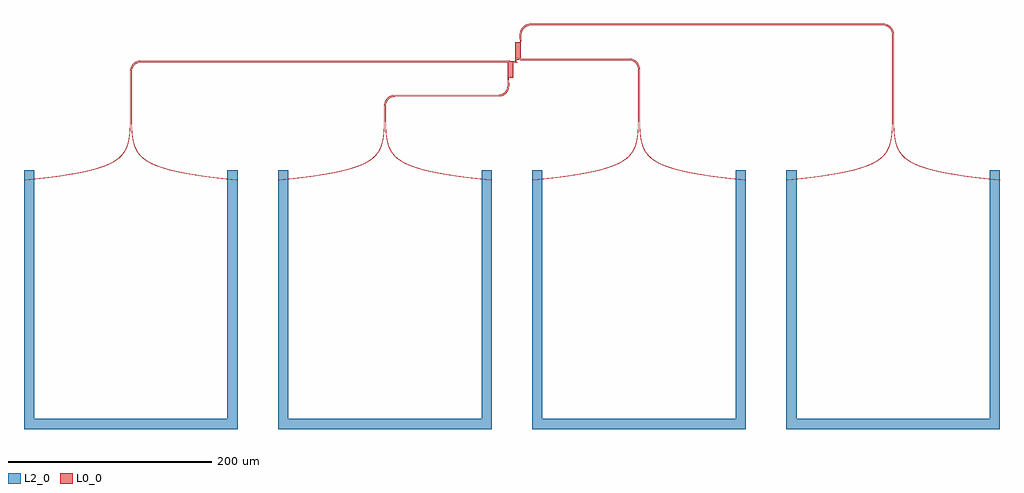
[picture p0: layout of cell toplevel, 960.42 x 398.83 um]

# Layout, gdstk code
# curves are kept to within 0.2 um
import gdstk
lib = gdstk.Library(unit=1e-6, precision=1e-09)
def P(c, l, *ps):  # polygons
    for p in ps: c.add(gdstk.Polygon(p, *l))
L0_0 = (0, 0)
L2_0 = (2, 0)

toplevel = lib.new_cell('toplevel')
P(toplevel, L0_0, [(-850.7,299.7),(-850.759,295.205),(-850.935,290.711),(-851.192,287.017),(-851.549,283.625),(-852.012,280.534),(-852.317,278.94),(-852.628,277.546),(-852.96,276.253),(-853.308,275.059),(-853.701,273.866),(-854.145,272.673),(-854.691,271.382),(-855.212,270.29),(-855.739,269.297),(-856.321,268.305),(-856.966,267.312),(-857.679,266.32),(-858.385,265.427),(-859.249,264.435),(-860.105,263.541),(-861.041,262.648),(-862.068,261.753),(-862.934,261.058),(-864.002,260.262),(-865.009,259.566),(-866.252,258.77),(-867.425,258.073),(-868.684,257.376),(-870.237,256.579),(-871.92,255.782),(-873.51,255.084),(-876.777,253.787),(-880.503,252.49),(-882.721,251.791),(-884.751,251.192),(-889.2,249.994),(-893.78,248.895),(-898.896,247.796),(-904.613,246.697),(-910.39,245.697),(-916.779,244.698),(-923.846,243.698),(-930.844,242.799),(-938.506,241.899),(-946.896,240.999),(-955.209,240.181),(-955.2,239.996),(-955,240),(-947.855,240.7),(-940.284,241.5),(-934.14,242.2),(-929.209,242.8),(-923.819,243.5),(-918.796,244.2),(-910.968,245.4),(-907.394,246),(-903.489,246.7),(-899.85,247.4),(-896.458,248.1),(-893.297,248.8),(-890.351,249.5),(-887.606,250.2),(-884.696,251),(-882.335,251.7),(-879.834,252.5),(-877.526,253.3),(-875.396,254.1),(-873.431,254.9),(-871.402,255.8),(-869.549,256.7),(-867.856,257.6),(-866.31,258.5),(-864.749,259.5),(-863.337,260.5),(-862.061,261.5),(-860.798,262.6),(-859.667,263.7),(-858.831,264.6),(-857.907,265.7),(-857.151,266.7),(-856.403,267.8),(-855.734,268.9),(-855.084,270.1),(-854.554,271.2),(-853.959,272.6),(-853.443,274),(-853.086,275.1),(-852.686,276.5),(-852.294,278.1),(-851.981,279.6),(-851.664,281.4),(-851.389,283.3),(-851.165,285.2),(-850.911,288),(-850.714,291.1),(-850.594,294),(-850.517,297.4),(-850.5,346.872),(-850.459,347.798),(-850.303,348.898),(-850.134,349.62),(-849.853,350.502),(-849.572,351.188),(-849.154,352.015),(-848.666,352.802),(-848.226,353.398),(-847.619,354.098),(-847.09,354.617),(-846.38,355.212),(-845.776,355.641),(-845.143,356.027),(-844.484,356.367),(-843.803,356.66),(-842.926,356.957),(-842.207,357.138),(-841.294,357.292),(-840.556,357.358),(-840,357.372),(-482.938,357.372),(-480.414,357.359),(-478.995,357.313),(-478.048,357.216),(-477.101,357.027),(-476.628,356.979),(-471.639,356.973),(-471.339,356.897),(-471.389,357.397),(-471.389,375.397),(-470.789,375.397),(-470.789,361.571),(-470.762,361.273),(-470.689,361.197),(-470.642,361.222),(-470.607,361.312),(-470.589,361.631),(-470.589,375.397),(-469.989,375.397),(-469.989,361.571),(-469.962,361.273),(-469.889,361.197),(-469.842,361.222),(-469.807,361.312),(-469.789,361.631),(-469.789,375.397),(-469.189,375.397),(-469.189,361.571),(-469.162,361.273),(-469.089,361.197),(-469.042,361.222),(-469.007,361.312),(-468.989,361.631),(-468.989,375.397),(-468.389,375.397),(-468.389,361.571),(-468.362,361.273),(-468.289,361.197),(-468.242,361.222),(-468.207,361.312),(-468.189,361.631),(-468.189,375.397),(-467.589,375.397),(-467.589,361.571),(-467.562,361.273),(-467.489,361.197),(-467.442,361.222),(-467.407,361.312),(-467.389,361.631),(-467.389,375.397),(-466.789,375.397),(-466.789,361.571),(-466.755,361.255),(-466.707,361.201),(-466.642,361.222),(-466.601,361.351),(-466.589,361.631),(-466.592,376.028),(-466.619,376.502),(-466.855,377.764),(-466.939,378.71),(-466.98,380.288),(-466.989,383.128),(-466.963,383.868),(-466.885,384.605),(-466.755,385.335),(-466.574,386.053),(-466.342,386.758),(-465.984,387.612),(-465.644,388.27),(-465.258,388.903),(-464.715,389.654),(-464.234,390.218),(-463.715,390.746),(-463.159,391.237),(-462.571,391.687),(-461.793,392.19),(-461.14,392.541),(-460.465,392.846),(-459.769,393.102),(-459.057,393.309),(-458.333,393.464),(-457.599,393.569),(-456.489,393.628),(-110,393.628),(-109.259,393.601),(-108.339,393.495),(-107.432,393.309),(-106.545,393.043),(-105.684,392.7),(-104.857,392.282),(-104.224,391.896),(-103.474,391.353),(-102.774,390.746),(-102.131,390.08),(-101.66,389.507),(-101.131,388.747),(-100.67,387.944),(-100.353,387.274),(-100.025,386.408),(-99.775,385.516),(-99.604,384.605),(-99.526,383.868),(-99.5,383.128),(-99.499,299.3),(-99.43,294.8),(-99.248,290.4),(-98.935,286.2),(-98.746,284.4),(-98.516,282.6),(-98.185,280.5),(-97.92,279.1),(-97.59,277.6),(-97.205,276.1),(-96.724,274.5),(-96.308,273.3),(-95.838,272.1),(-95.26,270.8),(-94.708,269.7),(-93.971,268.4),(-93.267,267.3),(-92.556,266.3),(-91.517,265),(-90.43,263.8),(-89.202,262.6),(-87.939,261.5),(-86.528,260.4),(-85.102,259.4),(-83.525,258.4),(-81.597,257.3),(-79.648,256.3),(-77.719,255.4),(-75.606,254.5),(-73.561,253.7),(-71.054,252.8),(-68.626,252),(-65.995,251.2),(-63.144,250.4),(-60.053,249.6),(-57.137,248.9),(-53.542,248.1),(-50.15,247.4),(-46.511,246.7),(-42.605,246),(-38.415,245.3),(-34.581,244.7),(-30.508,244.1),(-25.434,243.4),(-15.859,242.2),(-5.056,241),(1.876,240.3),(5.2,239.996),(5.209,240.181),(-1.134,240.799),(-7.859,241.499),(-14.125,242.199),(-19.965,242.898),(-28.35,243.998),(-35.854,245.098),(-39.61,245.697),(-43.715,246.397),(-47.539,247.096),(-50.61,247.696),(-53.965,248.395),(-57.092,249.095),(-60.005,249.794),(-63.092,250.593),(-65.94,251.392),(-68.566,252.191),(-70.989,252.989),(-73.49,253.887),(-75.775,254.785),(-77.86,255.682),(-79.764,256.579),(-81.502,257.476),(-83.089,258.372),(-84.842,259.467),(-86.41,260.561),(-87.812,261.654),(-89.067,262.747),(-90.286,263.939),(-91.365,265.13),(-92.396,266.42),(-93.102,267.412),(-93.86,268.603),(-94.531,269.793),(-95.079,270.885),(-95.612,272.078),(-96.12,273.37),(-96.534,274.562),(-96.985,276.054),(-97.372,277.547),(-97.724,279.14),(-97.988,280.534),(-98.275,282.328),(-98.524,284.224),(-98.717,286.019),(-99.037,290.212),(-99.23,294.806),(-99.299,299.301),(-99.3,383.128),(-99.381,384.446),(-99.539,385.377),(-99.778,386.29),(-100.096,387.179),(-100.492,388.036),(-100.962,388.854),(-101.501,389.629),(-101.981,390.212),(-102.637,390.891),(-103.35,391.51),(-104.114,392.063),(-104.759,392.456),(-105.602,392.882),(-106.479,393.232),(-107.383,393.503),(-108.307,393.693),(-109.245,393.801),(-109.999,393.828),(-456.49,393.828),(-457.62,393.768),(-458.182,393.693),(-458.923,393.547),(-459.652,393.35),(-460.188,393.168),(-460.715,392.958),(-461.397,392.635),(-462.056,392.266),(-462.532,391.958),(-463.14,391.51),(-463.574,391.146),(-464.122,390.627),(-464.508,390.212),(-464.872,389.778),(-465.32,389.17),(-465.997,388.036),(-466.393,387.179),(-466.766,386.109),(-467.023,385.006),(-467.163,383.882),(-467.188,383.316),(-467.186,381.234),(-467.146,378.859),(-467.054,377.737),(-466.817,376.476),(-466.79,375.598),(-471.589,375.598),(-471.589,357.387),(-471.567,357.16),(-476.621,357.178),(-477.065,357.224),(-478.179,357.437),(-478.982,357.512),(-480.253,357.557),(-483.096,357.572),(-840.001,357.572),(-840.566,357.558),(-841.319,357.491),(-842.249,357.333),(-842.982,357.149),(-843.876,356.846),(-844.739,356.466),(-845.567,356.01),(-846.197,355.595),(-846.942,355.015),(-847.499,354.505),(-848.019,353.957),(-848.612,353.223),(-849.138,352.439),(-849.508,351.781),(-849.83,351.098),(-850.165,350.215),(-850.42,349.306),(-850.565,348.565),(-850.658,347.816),(-850.7,346.873)],
  [(-849.5,299.8),(-849.443,295.3),(-849.27,290.8),(-849.016,287.1),(-848.662,283.7),(-848.185,280.5),(-847.92,279.1),(-847.614,277.7),(-847.26,276.3),(-846.852,274.9),(-846.417,273.6),(-845.961,272.4),(-845.446,271.2),(-844.966,270.2),(-844.436,269.2),(-843.724,268),(-843.061,267),(-842.405,266.1),(-841.602,265.1),(-840.807,264.2),(-840.037,263.4),(-839.093,262.5),(-838.298,261.8),(-837.189,260.9),(-836.115,260.1),(-834.951,259.3),(-833.69,258.5),(-832.5,257.8),(-831.032,257),(-829.648,256.3),(-828.163,255.6),(-826.569,254.9),(-823.293,253.6),(-821.344,252.9),(-819.56,252.3),(-815.651,251.1),(-811.241,249.9),(-806.265,248.7),(-801.144,247.6),(-795.423,246.5),(-789.643,245.5),(-783.25,244.5),(-776.181,243.5),(-768.363,242.5),(-760.621,241.6),(-752.144,240.7),(-744.8,239.996),(-744.791,240.181),(-751.134,240.799),(-757.859,241.499),(-764.125,242.199),(-770.766,242.998),(-778.35,243.998),(-785.206,244.998),(-792.572,246.197),(-795.933,246.797),(-799.607,247.496),(-802.556,248.096),(-805.779,248.795),(-809.193,249.594),(-811.58,250.194),(-814.187,250.893),(-816.616,251.592),(-819.19,252.39),(-821.565,253.189),(-823.755,253.987),(-825.775,254.785),(-828.08,255.782),(-829.965,256.679),(-831.686,257.576),(-833.256,258.472),(-834.842,259.467),(-836.41,260.561),(-837.812,261.654),(-839.067,262.747),(-840.286,263.939),(-841.365,265.13),(-842.396,266.42),(-843.168,267.511),(-844.035,268.9),(-844.788,270.29),(-845.484,271.779),(-846.12,273.37),(-846.692,275.059),(-847.173,276.751),(-847.577,278.442),(-847.988,280.534),(-848.275,282.329),(-848.559,284.523),(-848.782,286.718),(-848.988,289.413),(-849.134,292.109),(-849.241,295.205),(-849.3,299.7),(-849.3,346.872),(-849.264,347.692),(-849.183,348.344),(-849.056,348.988),(-848.727,350.088),(-848.478,350.695),(-848.187,351.284),(-847.856,351.85),(-847.485,352.392),(-846.748,353.272),(-846.28,353.732),(-845.78,354.158),(-844.838,354.815),(-844.266,355.136),(-843.672,355.417),(-842.749,355.757),(-841.955,355.965),(-840.983,356.12),(-839.999,356.172),(-483.369,356.172),(-479.46,356.209),(-478.179,356.308),(-476.773,356.559),(-474.343,356.56),(-474.22,356.483),(-474.152,356.368),(-474.139,355.973),(-478.939,355.973),(-478.945,339.99),(-478.991,339.546),(-479.18,338.594),(-479.268,337.79),(-479.326,336.2),(-479.352,332.55),(-479.432,331.734),(-479.583,330.927),(-479.755,330.294),(-479.971,329.674),(-480.23,329.071),(-480.531,328.487),(-481.154,327.523),(-481.562,327.009),(-482.005,326.524),(-482.859,325.757),(-483.388,325.367),(-483.942,325.016),(-484.967,324.498),(-485.579,324.26),(-486.206,324.066),(-486.845,323.917),(-487.493,323.813),(-488.64,323.742),(-590.189,323.741),(-590.755,323.716),(-591.506,323.636),(-592.8,323.37),(-593.521,323.146),(-594.225,322.873),(-595.404,322.277),(-596.35,321.654),(-597.225,320.935),(-598.019,320.127),(-598.831,319.085),(-599.42,318.118),(-599.973,316.918),(-600.327,315.842),(-600.565,314.735),(-600.658,313.985),(-600.7,313.043),(-600.724,296.903),(-600.8,293.807),(-600.946,290.511),(-601.218,286.718),(-601.549,283.625),(-602.012,280.534),(-602.317,278.94),(-602.628,277.546),(-603.158,275.557),(-603.807,273.568),(-604.43,271.978),(-605.212,270.29),(-606.023,268.801),(-606.966,267.312),(-607.985,265.923),(-609.249,264.435),(-610.408,263.243),(-611.716,262.051),(-612.934,261.058),(-614.282,260.063),(-615.773,259.069),(-617.252,258.173),(-618.871,257.277),(-620.645,256.38),(-622.363,255.582),(-624.716,254.585),(-626.777,253.787),(-629.011,252.989),(-631.434,252.191),(-634.061,251.392),(-636.54,250.693),(-639.2,249.994),(-641.635,249.394),(-645.119,248.595),(-648.407,247.896),(-651.936,247.196),(-655.722,246.497),(-659.188,245.897),(-666.779,244.698),(-675.347,243.498),(-684.164,242.399),(-694.014,241.299),(-705.209,240.181),(-705.2,239.996),(-705,240),(-695.905,240.9),(-687.598,241.8),(-681.637,242.5),(-676.082,243.2),(-670.906,243.9),(-666.081,244.6),(-660.357,245.5),(-654.577,246.5),(-649.351,247.5),(-644.624,248.5),(-640.351,249.5),(-636.122,250.6),(-632.336,251.7),(-628.656,252.9),(-625.396,254.1),(-622.281,255.4),(-619.549,256.7),(-618.219,257.4),(-616.98,258.1),(-615.825,258.8),(-614.749,259.5),(-613.608,260.3),(-612.683,261),(-611.702,261.8),(-610.798,262.6),(-609.863,263.5),(-609.101,264.3),(-608.067,265.5),(-606.939,267),(-605.909,268.6),(-605.084,270.1),(-604.246,271.9),(-603.583,273.6),(-602.966,275.5),(-602.386,277.7),(-602.08,279.1),(-601.815,280.5),(-601.338,283.7),(-600.984,287.1),(-600.73,290.8),(-600.607,293.6),(-600.524,296.9),(-600.5,313.042),(-600.474,313.783),(-600.368,314.703),(-600.134,315.79),(-599.787,316.846),(-599.244,318.023),(-598.666,318.972),(-597.99,319.854),(-597.226,320.661),(-596.38,321.382),(-595.303,322.105),(-594.146,322.689),(-593.455,322.958),(-592.926,323.126),(-592.207,323.308),(-591.478,323.438),(-590.185,323.541),(-488.639,323.542),(-487.969,323.566),(-487.302,323.637),(-486.154,323.873),(-485.513,324.072),(-484.888,324.314),(-483.841,324.843),(-483.275,325.202),(-482.735,325.6),(-482.225,326.035),(-481.746,326.505),(-480.993,327.404),(-480.615,327.958),(-480.276,328.536),(-479.784,329.601),(-479.564,330.235),(-479.388,330.882),(-479.234,331.705),(-479.145,332.707),(-479.126,336.197),(-479.069,337.775),(-478.983,338.564),(-478.794,339.51),(-478.746,339.984),(-478.739,355.772),(-478.139,355.772),(-478.139,341.946),(-478.112,341.648),(-478.039,341.572),(-477.992,341.597),(-477.957,341.687),(-477.939,342.006),(-477.939,355.772),(-477.339,355.772),(-477.339,341.946),(-477.312,341.648),(-477.239,341.572),(-477.192,341.597),(-477.157,341.687),(-477.139,342.006),(-477.139,355.772),(-476.539,355.772),(-476.539,341.946),(-476.512,341.648),(-476.439,341.572),(-476.392,341.597),(-476.357,341.687),(-476.339,342.006),(-476.339,355.772),(-475.739,355.772),(-475.739,341.946),(-475.712,341.648),(-475.639,341.572),(-475.592,341.597),(-475.557,341.687),(-475.539,342.006),(-475.539,355.772),(-474.939,355.772),(-474.939,341.946),(-474.912,341.648),(-474.839,341.572),(-474.792,341.597),(-474.757,341.687),(-474.739,342.006),(-474.739,355.772),(-474.139,355.772),(-474.139,341.946),(-474.097,341.613),(-474.022,341.576),(-473.967,341.648),(-473.939,342.006),(-473.945,356.356),(-473.989,356.498),(-474.074,356.62),(-474.191,356.711),(-474.33,356.762),(-476.155,356.772),(-476.944,356.743),(-478.206,356.506),(-479.152,356.423),(-480.73,356.382),(-483.569,356.372),(-840,356.372),(-840.67,356.349),(-841.337,356.278),(-842.161,356.124),(-842.808,355.948),(-843.597,355.665),(-844.208,355.39),(-844.942,354.986),(-845.502,354.617),(-846.163,354.102),(-846.658,353.649),(-847.119,353.163),(-847.646,352.51),(-848.025,351.957),(-848.442,351.23),(-848.728,350.624),(-849.025,349.84),(-849.251,349.033),(-849.405,348.209),(-849.476,347.543),(-849.5,346.872)],
  [(-599.5,299.8),(-599.443,295.3),(-599.27,290.8),(-599.016,287.1),(-598.662,283.7),(-598.185,280.5),(-597.92,279.1),(-597.614,277.7),(-597.26,276.3),(-596.852,274.9),(-596.417,273.6),(-595.961,272.4),(-595.446,271.2),(-594.966,270.2),(-594.436,269.2),(-593.724,268),(-593.061,267),(-592.405,266.1),(-591.602,265.1),(-590.807,264.2),(-590.037,263.4),(-589.093,262.5),(-588.298,261.8),(-587.189,260.9),(-586.115,260.1),(-584.951,259.3),(-583.69,258.5),(-582.5,257.8),(-581.032,257),(-579.648,256.3),(-578.163,255.6),(-576.569,254.9),(-573.293,253.6),(-571.344,252.9),(-569.56,252.3),(-565.651,251.1),(-561.241,249.9),(-556.265,248.7),(-551.144,247.6),(-545.423,246.5),(-539.643,245.5),(-533.25,244.5),(-526.181,243.5),(-518.363,242.5),(-510.621,241.6),(-502.144,240.7),(-494.8,239.996),(-494.791,240.181),(-505.035,241.199),(-514.125,242.199),(-522.345,243.198),(-530.479,244.298),(-537.132,245.298),(-543.715,246.397),(-549.607,247.496),(-554.881,248.595),(-560.005,249.794),(-562.343,250.393),(-564.899,251.092),(-567.279,251.791),(-569.498,252.49),(-571.565,253.189),(-573.49,253.887),(-575.531,254.685),(-577.186,255.383),(-578.727,256.081),(-580.361,256.878),(-581.867,257.675),(-583.089,258.372),(-584.537,259.268),(-585.86,260.163),(-587.067,261.058),(-588.051,261.853),(-589.067,262.747),(-589.995,263.641),(-590.752,264.435),(-591.697,265.527),(-592.396,266.42),(-593.168,267.511),(-593.86,268.603),(-594.531,269.793),(-595.079,270.885),(-595.612,272.078),(-596.083,273.27),(-596.534,274.562),(-596.985,276.054),(-597.372,277.547),(-597.683,278.941),(-597.988,280.534),(-598.231,282.03),(-598.476,283.825),(-598.85,287.516),(-599.106,291.51),(-599.241,295.205),(-599.3,299.7),(-599.3,313.041),(-599.264,313.862),(-599.125,314.836),(-598.932,315.634),(-598.727,316.257),(-598.478,316.865),(-598.108,317.597),(-597.767,318.158),(-597.286,318.822),(-596.748,319.442),(-596.158,320.012),(-595.519,320.527),(-594.838,320.985),(-594.266,321.306),(-593.521,321.65),(-592.749,321.927),(-592.115,322.099),(-591.309,322.25),(-590.656,322.319),(-589.999,322.342),(-488.638,322.342),(-487.696,322.384),(-486.947,322.477),(-486.022,322.667),(-485.297,322.878),(-484.241,323.288),(-483.564,323.622),(-483.073,323.904),(-482.138,324.544),(-481.276,325.279),(-480.497,326.1),(-480.027,326.692),(-479.703,327.157),(-479.131,328.134),(-478.666,329.167),(-478.417,329.88),(-478.178,330.793),(-478.021,331.724),(-477.946,332.665),(-477.946,335.568),(-477.99,337.47),(-478.098,338.594),(-478.312,339.694),(-478.339,340.572),(-473.539,340.572),(-473.535,356.329),(-473.459,356.483),(-473.296,356.568),(-471.567,356.584),(-471.636,356.135),(-471.741,355.996),(-471.845,355.917),(-472.267,355.739),(-473.404,355.513),(-473.39,355.348),(-473.189,355.348),(-472.611,355.447),(-471.931,355.647),(-471.738,355.747),(-471.515,355.947),(-471.396,356.247),(-471.339,356.848),(-471.639,356.772),(-473.348,356.762),(-473.487,356.711),(-473.604,356.62),(-473.689,356.498),(-473.733,356.356),(-473.739,340.772),(-474.339,340.772),(-474.339,354.539),(-474.357,354.858),(-474.392,354.948),(-474.439,354.973),(-474.512,354.897),(-474.539,354.599),(-474.539,340.772),(-475.139,340.772),(-475.139,354.539),(-475.157,354.858),(-475.192,354.948),(-475.239,354.973),(-475.312,354.897),(-475.339,354.599),(-475.339,340.772),(-475.939,340.772),(-475.939,354.539),(-475.957,354.858),(-475.992,354.948),(-476.039,354.973),(-476.112,354.897),(-476.139,354.599),(-476.139,340.772),(-476.739,340.772),(-476.739,354.539),(-476.757,354.858),(-476.792,354.948),(-476.839,354.973),(-476.912,354.897),(-476.939,354.599),(-476.939,340.772),(-477.539,340.772),(-477.539,354.539),(-477.557,354.858),(-477.592,354.948),(-477.639,354.973),(-477.712,354.897),(-477.739,354.599),(-477.739,340.772),(-478.339,340.772),(-478.339,354.539),(-478.374,354.915),(-478.439,354.973),(-478.505,354.915),(-478.539,354.599),(-478.537,340.141),(-478.51,339.668),(-478.322,338.722),(-478.222,337.933),(-478.17,336.986),(-478.146,335.566),(-478.146,332.672),(-478.198,331.932),(-478.302,331.199),(-478.608,329.939),(-479.067,328.726),(-479.672,327.58),(-480.414,326.516),(-481.28,325.552),(-482.113,324.817),(-483.177,324.075),(-484.323,323.47),(-485.359,323.068),(-486.432,322.777),(-487.529,322.601),(-488.639,322.542),(-590,322.542),(-591.004,322.489),(-591.833,322.364),(-592.967,322.067),(-593.597,321.835),(-594.208,321.56),(-594.798,321.242),(-595.365,320.883),(-596.29,320.162),(-596.776,319.7),(-597.229,319.206),(-597.934,318.268),(-598.517,317.25),(-598.971,316.169),(-599.169,315.528),(-599.322,314.875),(-599.428,314.213),(-599.494,313.378)],
  [(-100.701,299.501),(-100.778,294.506),(-100.946,290.511),(-101.227,286.618),(-101.627,283.027),(-102.102,280.036),(-102.401,278.542),(-102.701,277.248),(-103.043,275.954),(-103.402,274.761),(-103.807,273.568),(-104.265,272.375),(-104.736,271.282),(-105.212,270.29),(-105.739,269.297),(-106.383,268.205),(-106.966,267.312),(-107.679,266.32),(-108.385,265.427),(-109.34,264.335),(-110.105,263.541),(-111.041,262.648),(-112.068,261.753),(-112.934,261.058),(-114.002,260.262),(-115.009,259.566),(-116.252,258.77),(-117.425,258.073),(-118.684,257.376),(-120.237,256.579),(-123.044,255.283),(-124.716,254.585),(-126.51,253.887),(-130.198,252.59),(-132.394,251.891),(-134.404,251.292),(-138.421,250.194),(-143.342,248.995),(-148.407,247.896),(-152.991,246.996),(-159.188,245.897),(-165.449,244.898),(-171.651,243.998),(-179.233,242.998),(-187.62,241.999),(-195.926,241.099),(-205.209,240.181),(-205.2,239.996),(-200.856,240.4),(-193.993,241.1),(-183.298,242.3),(-178.415,242.9),(-173.08,243.6),(-168.796,244.2),(-164.115,244.9),(-159.753,245.6),(-155.687,246.3),(-151.898,247),(-147.882,247.8),(-144.624,248.5),(-141.172,249.3),(-137.986,250.1),(-135.047,250.9),(-132.335,251.7),(-129.535,252.6),(-127.25,253.4),(-124.89,254.3),(-122.734,255.2),(-120.558,256.2),(-118.589,257.2),(-116.81,258.2),(-115.201,259.2),(-113.608,260.3),(-112.061,261.5),(-110.69,262.7),(-109.57,263.8),(-108.314,265.2),(-107.296,266.5),(-106.339,267.9),(-105.734,268.9),(-105.187,269.9),(-104.646,271),(-104.162,272.1),(-103.692,273.3),(-103.276,274.5),(-102.879,275.8),(-102.482,277.3),(-102.163,278.7),(-101.887,280.1),(-101.617,281.7),(-101.389,283.3),(-101.165,285.2),(-100.984,287.1),(-100.714,291.1),(-100.559,295.2),(-100.5,299.7),(-100.501,383.295),(-100.553,384.132),(-100.678,384.96),(-100.876,385.775),(-101.145,386.569),(-101.483,387.336),(-101.887,388.07),(-102.354,388.766),(-102.771,389.291),(-103.223,389.785),(-103.837,390.357),(-104.498,390.872),(-105.202,391.327),(-105.943,391.718),(-106.716,392.042),(-107.514,392.297),(-108.167,392.449),(-109.163,392.591),(-110,392.628),(-456.992,392.614),(-457.66,392.555),(-458.322,392.449),(-458.975,392.297),(-459.773,392.042),(-460.546,391.718),(-461.142,391.41),(-461.854,390.968),(-462.394,390.57),(-463.027,390.021),(-463.497,389.542),(-463.932,389.032),(-464.33,388.492),(-464.772,387.78),(-465.079,387.185),(-465.404,386.412),(-465.613,385.775),(-465.842,384.796),(-465.966,383.798),(-466.04,378.71),(-466.123,377.764),(-466.334,376.66),(-466.383,376.186),(-466.389,360.397),(-466.989,360.397),(-466.989,374.164),(-467.007,374.483),(-467.042,374.573),(-467.089,374.598),(-467.162,374.522),(-467.189,374.224),(-467.189,360.397),(-467.789,360.397),(-467.789,374.164),(-467.807,374.483),(-467.842,374.573),(-467.889,374.598),(-467.962,374.522),(-467.989,374.224),(-467.989,360.397),(-468.589,360.397),(-468.589,374.164),(-468.607,374.483),(-468.642,374.573),(-468.689,374.598),(-468.762,374.522),(-468.789,374.224),(-468.789,360.397),(-469.389,360.397),(-469.389,374.164),(-469.407,374.483),(-469.442,374.573),(-469.489,374.598),(-469.562,374.522),(-469.589,374.224),(-469.589,360.397),(-470.189,360.397),(-470.189,374.164),(-470.207,374.483),(-470.242,374.573),(-470.289,374.598),(-470.362,374.522),(-470.389,374.224),(-470.389,360.397),(-470.989,360.397),(-470.989,374.164),(-471.032,374.557),(-471.072,374.594),(-471.123,374.586),(-471.172,374.483),(-471.189,359.487),(-471.167,359.34),(-471.071,359.168),(-470.937,359.059),(-470.773,359.003),(-469.243,359.011),(-467.981,359.241),(-467.034,359.338),(-464.352,359.394),(-359.815,359.396),(-358.89,359.339),(-358.156,359.234),(-357.253,359.032),(-356.545,358.813),(-355.854,358.544),(-355.184,358.228),(-354.38,357.767),(-353.768,357.348),(-352.91,356.642),(-352.131,355.85),(-351.44,354.979),(-350.938,354.201),(-350.428,353.213),(-350.025,352.177),(-349.735,351.105),(-349.559,350.007),(-349.5,348.897),(-349.499,299.3),(-349.43,294.8),(-349.27,290.8),(-349.033,287.3),(-348.746,284.4),(-348.383,281.7),(-347.92,279.1),(-347.418,276.9),(-347.121,275.8),(-346.724,274.5),(-346.041,272.6),(-345.26,270.8),(-344.708,269.7),(-344.208,268.8),(-343.597,267.8),(-342.849,266.7),(-342.093,265.7),(-341.345,264.8),(-340.62,264),(-339.732,263.1),(-338.872,262.3),(-337.939,261.5),(-336.928,260.7),(-335.833,259.9),(-334.646,259.1),(-333.525,258.4),(-332.323,257.7),(-331.032,257),(-329.648,256.3),(-328.163,255.6),(-325.11,254.3),(-321.915,253.1),(-318.309,251.9),(-314.598,250.8),(-310.453,249.7),(-305.822,248.6),(-301.144,247.6),(-295.423,246.5),(-289.032,245.4),(-281.893,244.3),(-274.68,243.3),(-265.008,242.1),(-255.056,241),(-245,240),(-244.8,239.996),(-244.791,240.181),(-255.035,241.199),(-264.985,242.299),(-273.892,243.398),(-282.546,244.598),(-290.214,245.797),(-293.715,246.397),(-297.539,247.096),(-301.104,247.796),(-304.425,248.495),(-307.52,249.195),(-310.405,249.894),(-313.092,250.593),(-315.94,251.392),(-318.566,252.191),(-320.989,252.989),(-323.49,253.887),(-325.531,254.685),(-327.413,255.483),(-329.148,256.28),(-330.94,257.177),(-332.748,258.173),(-334.382,259.168),(-335.86,260.163),(-337.067,261.058),(-338.4,262.151),(-339.593,263.244),(-340.66,264.335),(-341.449,265.229),(-342.17,266.122),(-342.828,267.016),(-343.429,267.908),(-344.035,268.9),(-344.584,269.893),(-345.126,270.985),(-345.653,272.176),(-346.12,273.37),(-346.534,274.562),(-346.957,275.955),(-347.299,277.248),(-347.62,278.642),(-347.898,280.036),(-348.386,283.126),(-348.717,286.019),(-348.988,289.413),(-349.171,293.008),(-349.276,296.903),(-349.3,299.7),(-349.315,349.464),(-349.406,350.403),(-349.625,351.514),(-349.896,352.419),(-350.325,353.467),(-350.765,354.302),(-351.388,355.248),(-351.981,355.982),(-352.775,356.79),(-353.499,357.396),(-354.433,358.036),(-355.26,358.49),(-356.124,358.871),(-357.018,359.174),(-357.936,359.396),(-358.869,359.538),(-359.811,359.596),(-464.353,359.594),(-467.047,359.537),(-467.85,359.462),(-469.256,359.211),(-470.785,359.21),(-470.909,359.287),(-470.983,359.428),(-470.989,360.197),(-466.189,360.197),(-466.187,376.024),(-466.162,376.476),(-465.948,377.576),(-465.86,378.38),(-465.805,379.811),(-465.776,383.62),(-465.697,384.436),(-465.546,385.243),(-465.216,386.343),(-464.967,386.95),(-464.677,387.539),(-464.071,388.514),(-463.672,389.035),(-463.237,389.527),(-462.397,390.31),(-461.876,390.709),(-461.328,391.07),(-460.755,391.391),(-460.162,391.672),(-459.55,391.909),(-458.923,392.104),(-458.284,392.253),(-457.635,392.357),(-456.488,392.428),(-110.001,392.428),(-108.854,392.357),(-107.725,392.145),(-107.095,391.962),(-106.328,391.672),(-105.589,391.315),(-105.022,390.983),(-104.349,390.514),(-103.842,390.097),(-103.252,389.527),(-102.817,389.035),(-102.419,388.514),(-101.973,387.825),(-101.662,387.247),(-101.392,386.649),(-101.165,386.033),(-100.944,385.243),(-100.817,384.599),(-100.723,383.784),(-100.7,383.127)],
  [(-350.701,299.501),(-350.778,294.506),(-350.946,290.511),(-351.218,286.718),(-351.441,284.523),(-351.627,283.027),(-352.102,280.036),(-352.401,278.542),(-352.701,277.248),(-353.043,275.954),(-353.402,274.761),(-353.807,273.568),(-354.265,272.375),(-354.736,271.282),(-355.212,270.29),(-355.739,269.297),(-356.383,268.205),(-356.966,267.312),(-357.679,266.32),(-358.385,265.427),(-359.34,264.335),(-360.105,263.541),(-361.041,262.648),(-362.068,261.753),(-362.934,261.058),(-364.002,260.262),(-365.009,259.566),(-366.252,258.77),(-367.425,258.073),(-368.684,257.376),(-370.237,256.579),(-373.044,255.283),(-374.716,254.585),(-376.51,253.887),(-380.198,252.59),(-382.394,251.891),(-384.404,251.292),(-388.421,250.194),(-393.342,248.995),(-398.407,247.896),(-402.991,246.996),(-409.188,245.897),(-415.449,244.898),(-421.651,243.998),(-429.233,242.998),(-437.62,241.999),(-445.926,241.099),(-455.209,240.181),(-455.2,239.996),(-451.876,240.3),(-444.944,241),(-434.992,242.1),(-426.082,243.2),(-417.425,244.4),(-409.753,245.6),(-406.25,246.2),(-402.423,246.9),(-398.856,247.6),(-395.532,248.3),(-392.434,249),(-389.547,249.7),(-386.856,250.4),(-384.005,251.2),(-381.691,251.9),(-379.239,252.7),(-376.977,253.5),(-374.89,254.3),(-372.964,255.1),(-370.976,256),(-369.159,256.9),(-367.5,257.8),(-365.825,258.8),(-364.31,259.8),(-362.941,260.8),(-361.702,261.8),(-360.477,262.9),(-359.38,264),(-358.483,265),(-357.595,266.1),(-356.801,267.2),(-356.151,268.2),(-355.454,269.4),(-354.836,270.6),(-354.332,271.7),(-353.804,273),(-353.375,274.2),(-352.879,275.8),(-352.482,277.3),(-352.163,278.7),(-351.887,280.1),(-351.617,281.7),(-351.338,283.7),(-351.134,285.5),(-350.874,288.5),(-350.694,291.5),(-350.57,294.8),(-350.507,298.3),(-350.5,348.897),(-350.524,349.568),(-350.594,350.234),(-350.749,351.058),(-350.975,351.865),(-351.272,352.649),(-351.558,353.255),(-351.975,353.982),(-352.455,354.67),(-352.993,355.312),(-353.585,355.905),(-354.228,356.443),(-354.774,356.831),(-355.494,357.261),(-356.249,357.625),(-357.032,357.922),(-357.676,358.109),(-358.497,358.278),(-359.33,358.374),(-360,358.397),(-464.668,358.402),(-467.192,358.468),(-467.981,358.554),(-469.085,358.768),(-469.874,358.797),(-470.798,358.788),(-470.999,358.694),(-471.139,358.523),(-471.188,358.332),(-471.189,357.397),(-471.239,356.848),(-471.183,356.247),(-471.124,356.047),(-470.973,355.848),(-470.648,355.647),(-469.968,355.447),(-469.389,355.348),(-469.189,355.348),(-469.174,355.513),(-470.312,355.739),(-470.733,355.917),(-470.838,355.996),(-470.943,356.135),(-470.984,356.274),(-471.039,356.857),(-470.989,357.387),(-470.989,358.319),(-470.965,358.424),(-470.9,358.517),(-470.816,358.573),(-470.696,358.598),(-469.256,358.584),(-467.85,358.333),(-466.887,358.248),(-464.195,358.2),(-359.836,358.196),(-358.854,358.127),(-357.885,357.954),(-356.785,357.624),(-355.881,357.235),(-355.303,356.924),(-354.748,356.573),(-353.842,355.867),(-353.03,355.055),(-352.325,354.149),(-351.736,353.163),(-351.273,352.112),(-350.944,351.013),(-350.817,350.368),(-350.736,349.717),(-350.7,348.897)])
P(toplevel, L2_0, [(-755,250),(-755,5),(-945,5),(-945,250),(-955,250),(-955,-5),(-745,-5),(-745,250)],
  [(-505,250),(-505,5),(-695,5),(-695,250),(-705,250),(-705,-5),(-495,-5),(-495,250)],
  [(-255,250),(-255,5),(-445,5),(-445,250),(-455,250),(-455,-5),(-245,-5),(-245,250)],
  [(-5,250),(-5,5),(-195,5),(-195,250),(-205,250),(-205,-5),(5,-5),(5,250)])

lib.write_gds('toplevel.gds')
